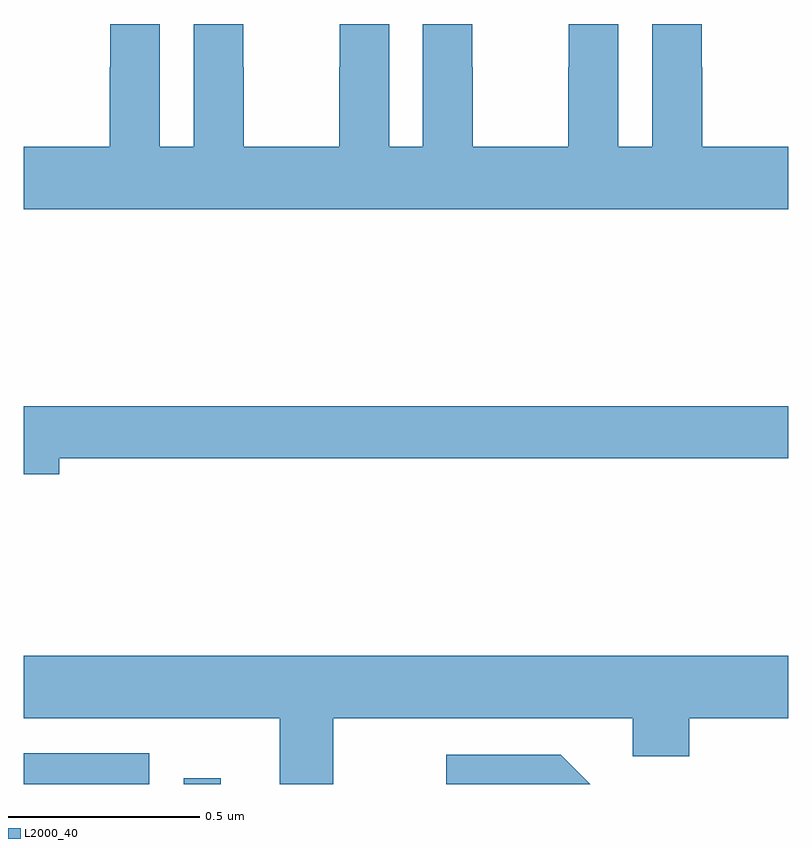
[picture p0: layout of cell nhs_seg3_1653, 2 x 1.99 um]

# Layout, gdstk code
import gdstk
lib = gdstk.Library(unit=1e-6, precision=1e-09)
def R(c, l, rs):  # rectangles x0, y0, x1, y1
    for r in rs: c.add(gdstk.rectangle(r[:2], r[2:], *l))
def P(c, l, *ps):  # polygons
    for p in ps: c.add(gdstk.Polygon(p, *l))
L2000_40 = (2000, 40)

nhs_seg3_1653 = lib.new_cell('nhs_seg3_1653')
R(nhs_seg3_1653, L2000_40, [(131,711.4,131.328,711.48), (131.419,711.4,131.515,711.415)])
P(nhs_seg3_1653, L2000_40, [(133,713.068),(132.775,713.068),(132.775,713.276),(132.774,713.276),(132.774,713.389),(132.644,713.389),(132.644,713.068),(132.556,713.068),(132.556,713.389),(132.426,713.389),(132.426,713.276),(132.425,713.276),(132.425,713.068),(132.175,713.068),(132.175,713.276),(132.174,713.276),(132.174,713.389),(132.044,713.389),(132.044,713.068),(131.956,713.068),(131.956,713.389),(131.826,713.389),(131.826,713.276),(131.825,713.276),(131.825,713.068),(131.575,713.068),(131.575,713.276),(131.574,713.276),(131.574,713.389),(131.444,713.389),(131.444,713.068),(131.356,713.068),(131.356,713.389),(131.226,713.389),(131.226,713.276),(131.225,713.276),(131.225,713.068),(131,713.068),(131,712.904),(133,712.904)],
  [(131.092,712.252),(133,712.252),(133,712.388),(131,712.388),(131,712.21),(131.092,712.21)],
  [(131.809,711.572),(132.593,711.572),(132.593,711.473),(132.741,711.473),(132.741,711.572),(133,711.572),(133,711.736),(131,711.736),(131,711.572),(131.669,711.572),(131.669,711.4),(131.809,711.4)],
  [(132.405,711.477),(132.105,711.477),(132.105,711.4),(132.482,711.4)])

lib.write_gds('nhs_seg3_1653.gds')
